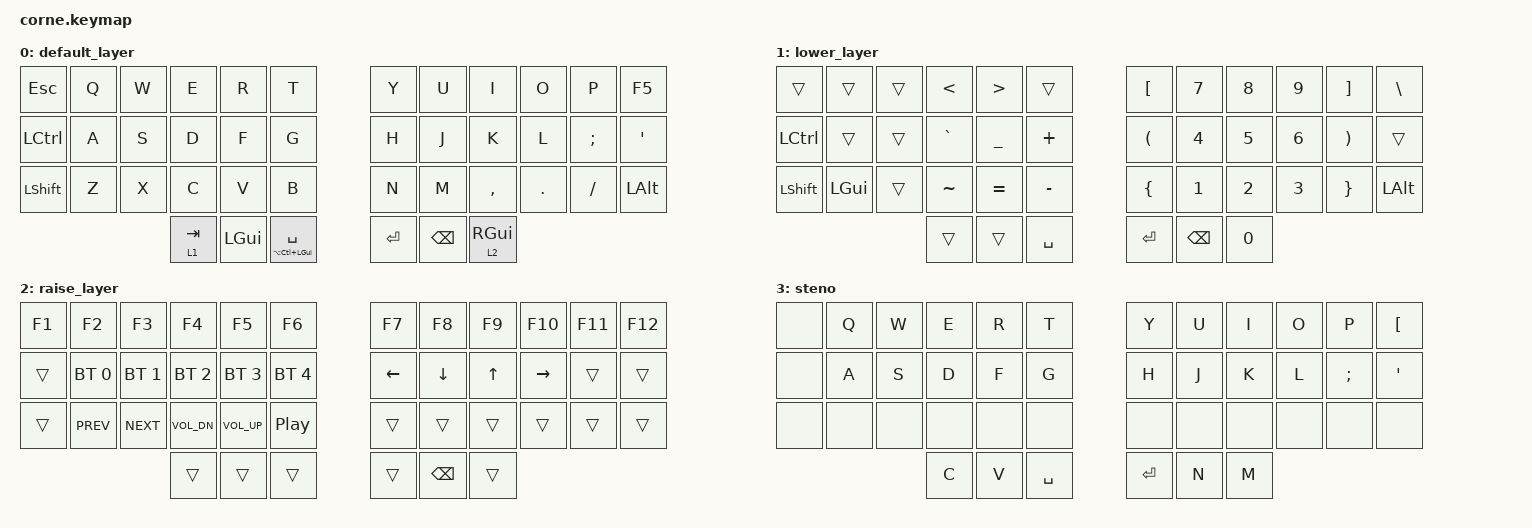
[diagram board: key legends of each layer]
#include <behaviors.dtsi>
#include <dt-bindings/zmk/bt.h>
#include <dt-bindings/zmk/keys.h>

&lt { flavor = "hold-preferred"; };

&mt {
    tapping-term-ms = <170>;
    quick-tap-ms = <100>;
    flavor = "tap-preferred";
};

/ {
    combos {
        compatible = "zmk,combos";

        combo_esc {
            timeout-ms = <100>;
            key-positions = <1 2>;
            bindings = <&kp TAB>;
        };

        combo_bt_clear {
            timeout-ms = <100>;
            key-positions = <6 7 8>;
            bindings = <&bt BT_CLR>;
        };

        esc {
            bindings = <&kp ESCAPE>;
            key-positions = <20 21>;
        };

        en-kr-create {
            bindings = <&kp LC(SPACE)>;
            key-positions = <15 38>;
        };
    };

    behaviors {
        hml_repeat: hml_repeat {
            compatible = "zmk,behavior-hold-tap";
            #binding-cells = <2>;
            flavor = "balanced";
            tapping-term-ms = <280>;
            quick-tap-ms = <175>;                // repeat on tap-into-hold
            require-prior-idle-ms = <150>;
            bindings = <&kp>, <&key_repeat>;

            hold-trigger-key-positions = <0>;
            hold-trigger-on-release;
        };

        hml: hml {
            compatible = "zmk,behavior-hold-tap";
            #binding-cells = <2>;
            flavor = "balanced";
            tapping-term-ms = <200>;                // repeat on tap-into-hold
            bindings = <&kp>, <&kp>;

            hold-trigger-key-positions = <37 36 38 39 40 41 6 7 8 9 10 11 18 19 20 21 22 23 30 31 32 33 34 35>;
            hold-trigger-on-release;
        };

        hmr: hmr {
            compatible = "zmk,behavior-hold-tap";
            #binding-cells = <2>;
            flavor = "balanced";
            tapping-term-ms = <200>;                // repeat on tap-into-hold
            bindings = <&kp>, <&kp>;

            hold-trigger-key-positions = < 0 1 2 3 4 5 12 13 14 15 16 17 24 25 26 27 28 29 36 37 38 39 40 41>;
            hold-trigger-on-release;
        };

        td1: tap_dance_1 {
            compatible = "zmk,behavior-tap-dance";
            label = "TAP_DANCE_1";
            #binding-cells = <0>;
            tapping-term-ms = <200>;
            bindings = <&kp N1>, <&kp EXCL>;
        };

        td2: tap_dance_2 {
            compatible = "zmk,behavior-tap-dance";
            label = "TAP_DANCE_2";
            #binding-cells = <0>;
            tapping-term-ms = <200>;
            bindings = <&kp N2>, <&kp AT>;
        };

        td3: tap_dance_3 {
            compatible = "zmk,behavior-tap-dance";
            label = "TAP_DANCE_3";
            #binding-cells = <0>;
            tapping-term-ms = <200>;
            bindings = <&kp N3>, <&kp HASH>;
        };

        td4: tap_dance_4 {
            compatible = "zmk,behavior-tap-dance";
            label = "TAP_DANCE_4";
            #binding-cells = <0>;
            tapping-term-ms = <200>;
            bindings = <&kp N4>, <&kp DLLR>;
        };

        td5: tap_dance_5 {
            compatible = "zmk,behavior-tap-dance";
            label = "TAP_DANCE_5";
            #binding-cells = <0>;
            tapping-term-ms = <200>;
            bindings = <&kp N5>, <&kp PRCNT>;
        };

        td6: tap_dance_6 {
            compatible = "zmk,behavior-tap-dance";
            label = "TAP_DANCE_6";
            #binding-cells = <0>;
            tapping-term-ms = <200>;
            bindings = <&kp N6>, <&kp CARET>;
        };

        td7: tap_dance_7 {
            compatible = "zmk,behavior-tap-dance";
            label = "TAP_DANCE_7";
            #binding-cells = <0>;
            tapping-term-ms = <200>;
            bindings = <&kp N7>, <&kp AMPS>;
        };

        td8: tap_dance_8 {
            compatible = "zmk,behavior-tap-dance";
            label = "TAP_DANCE_8";
            #binding-cells = <0>;
            tapping-term-ms = <200>;
            bindings = <&kp N8>, <&kp ASTRK>;
        };

        hmtpl: hmtpl {
            compatible = "zmk,behavior-hold-tap";
            label = "HMTPL";
            bindings = <&kp>, <&kp>;

            #binding-cells = <2>;
            tapping-term-ms = <300>;
            quick-tap-ms = <200>;
            require-prior-idle-ms = <125>;
            flavor = "tap-unless-interrupted";
            hold-trigger-key-positions = <36 37 38 39 40 41 6 7 8 9 10 11 18 19 20 21 22 23 30 31 32 33 34 35>;
        };

        hmtpr: hmtpr {
            compatible = "zmk,behavior-hold-tap";
            label = "HMTPR";
            bindings = <&kp>, <&kp>;

            #binding-cells = <2>;
            tapping-term-ms = <300>;
            quick-tap-ms = <200>;
            require-prior-idle-ms = <125>;
            flavor = "tap-unless-interrupted";
            hold-trigger-key-positions = <36 37 38 39 40 41 0 1 2 4 5 12 13 14 15 16 17 24 25 26 27 28 29 36 37 3>;
        };

        shifthmr: shifthmr {
            compatible = "zmk,behavior-hold-tap";
            label = "SHIFTHMR";
            bindings = <&kp>, <&kp>;

            #binding-cells = <2>;
            tapping-term-ms = <185>;
            quick-tap-ms = <185>;
            flavor = "tap-preferred";
            hold-trigger-key-positions = <36 37 38 39 40 41 0 1 2 4 5 12 13 14 15 16 17 24 25 26 27 28 29 36 37 3>;
        };

        shifthml: shifthml {
            compatible = "zmk,behavior-hold-tap";
            label = "SHIFTHML";
            bindings = <&kp>, <&kp>;

            #binding-cells = <2>;
            tapping-term-ms = <185>;
            quick-tap-ms = <185>;
            flavor = "tap-preferred";
            hold-trigger-key-positions = <36 37 38 39 40 41 36 37 6 7 8 9 10 11 18 19 20 21 22 23 30 31 32 33 34 35>;
        };
    };

    keymap {
        compatible = "zmk,keymap";

        default_layer {
            // -----------------------------------------------------------------------------------------
            // |  ESC |  Q  |  W  |  E  |  R  |  T  |   |  Y  |  U   |  I  |  O  |  P  |  TAB |
            // | CTRL |  A  |  S  |  D  |  F  |  G  |   |  H  |  J   |  K  |  L  |  ;  |  '   |
            // | SHFT |  Z  |  X  |  C  |  V  |  B  |   |  N  |  M   |  ,  |  .  |  /  |  ALT |
            //                    | GUI | LWR | SPC |   | ENT | BKSP | RSE |

            bindings = <
&kp ESC           &kp Q  &kp W  &kp E      &kp R     &kp T                         &kp Y      &kp U          &kp I       &kp O    &kp P          &kp F5
&kp LEFT_CONTROL  &kp A  &kp S  &kp D      &kp F     &kp G                         &kp H      &kp J          &kp K       &kp L    &kp SEMICOLON  &kp SQT
&kp LSHFT         &kp Z  &kp X  &kp C      &kp V     &kp B                         &kp N      &kp M          &kp COMMA   &kp DOT  &kp FSLH       &kp LALT
                                &lt 1 TAB  &kp LGUI  &mt LA(LC(LEFT_GUI)) SPACE    &kp ENTER  &kp BACKSPACE  &lt 2 RGUI
            >;
        };

        lower_layer {
            // -----------------------------------------------------------------------------------------
            // |      |     |     |  <  |  >  |      |     |  [  |  7  |  8  |  9  |  ]  |   \  |
            // | CTRL |     |     |  `  |  _  |  +   |     |  (  |  4  |  5  |  6  |  )  |      |
            // | SHFT |     |     |  ~  |  =  |  -   |     |  {  |  1  |  2  |  3  |  }  | RALT |
            //                     | GUI |     | SPC |     | ENT | BKSP |  0  |

            bindings = <
&trans     &trans        &trans  &kp LT     &kp GT     &trans       &kp LBKT  &kp N7    &kp N8  &kp N9  &kp RBKT  &kp BACKSLASH
&kp LCTRL  &trans        &trans  &kp GRAVE  &kp UNDER  &kp PLUS     &kp LPAR  &kp N4    &kp N5  &kp N6  &kp RPAR  &trans
&kp LSHFT  &kp LEFT_GUI  &trans  &kp TILDE  &kp EQUAL  &kp MINUS    &kp LBRC  &kp N1    &kp N2  &kp N3  &kp RBRC  &kp LALT
                                 &trans     &trans     &kp SPACE    &kp RET   &kp BSPC  &kp N0
            >;
        };

        raise_layer {
            // -----------------------------------------------------------------------------------------
            // |  F1   |  F2  |  F3  |  F4  |  F5  |  F6  |            |   F7  |  F8  |  F9  |  F10  |  F11  |  F12  |
            // |       | BT1  | BT2  | BT3  | BT4  | BT5  |            |  LFT  | DWN  |  UP  |  RGT  |       |       |
            // |       | Prev | Next | Vol - | Vol + | Play/Pause |    |       |      |      |       |       |       |
            //                       |      |      |      |            |       |      |      |

            bindings = <
&kp F1  &kp F2        &kp F3        &kp F4        &kp F5        &kp F6          &kp F7    &kp F8    &kp F9  &kp F10    &kp F11  &kp F12
&trans  &bt BT_SEL 0  &bt BT_SEL 1  &bt BT_SEL 2  &bt BT_SEL 3  &bt BT_SEL 4    &kp LEFT  &kp DOWN  &kp UP  &kp RIGHT  &trans   &trans
&trans  &kp C_PREV    &kp C_NEXT    &kp C_VOL_DN  &kp C_VOL_UP  &kp C_PP        &trans    &trans    &trans  &trans     &trans   &trans
                                    &trans        &trans        &trans          &trans    &kp BSPC  &trans
            >;
        };

        steno {
            bindings = <
&none  &kp Q  &kp W  &kp E  &kp R  &kp T        &kp Y    &kp U  &kp I  &kp O  &kp P          &kp LEFT_BRACKET
&none  &kp A  &kp S  &kp D  &kp F  &kp G        &kp H    &kp J  &kp K  &kp L  &kp SEMICOLON  &kp SQT
&none  &none  &none  &none  &none  &none        &none    &none  &none  &none  &none          &none
                     &kp C  &kp V  &kp SPACE    &kp RET  &kp N  &kp M
            >;
        };
    };
};
